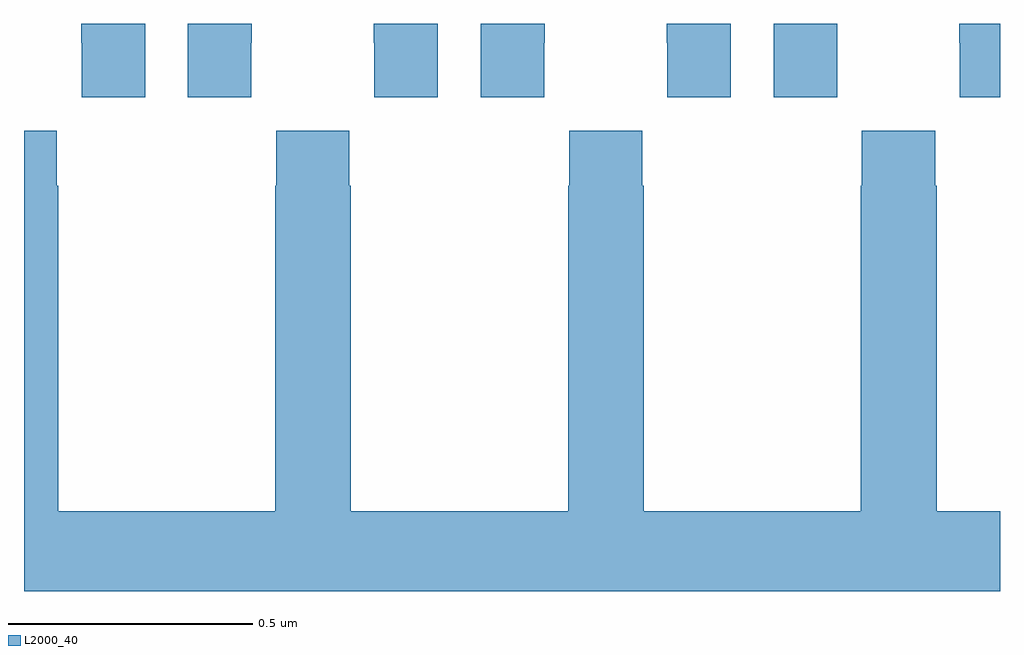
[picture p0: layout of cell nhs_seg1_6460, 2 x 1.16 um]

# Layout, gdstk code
import gdstk
lib = gdstk.Library(unit=1e-6, precision=1e-09)
def P(c, l, *ps):  # polygons
    for p in ps: c.add(gdstk.Polygon(p, *l))
L2000_40 = (2000, 40)

nhs_seg1_6460 = lib.new_cell('nhs_seg1_6460')
P(nhs_seg1_6460, L2000_40, [(191.248,582.199),(191.117,582.199),(191.117,582.16),(191.118,582.16),(191.118,582.048),(191.248,582.048)],
  [(191.466,582.16),(191.467,582.16),(191.467,582.199),(191.336,582.199),(191.336,582.048),(191.466,582.048)],
  [(191.848,582.199),(191.717,582.199),(191.717,582.16),(191.718,582.16),(191.718,582.048),(191.848,582.048)],
  [(192.066,582.16),(192.067,582.16),(192.067,582.199),(191.936,582.199),(191.936,582.048),(192.066,582.048)],
  [(192.448,582.199),(192.317,582.199),(192.317,582.16),(192.318,582.16),(192.318,582.048),(192.448,582.048)],
  [(192.666,582.16),(192.667,582.16),(192.667,582.199),(192.536,582.199),(192.536,582.048),(192.666,582.048)],
  [(193,582.199),(192.917,582.199),(192.917,582.16),(192.918,582.16),(192.918,582.048),(193,582.048)],
  [(193,581.2),(192.87,581.2),(192.87,581.867),(192.867,581.867),(192.867,581.98),(192.717,581.98),(192.717,581.867),(192.715,581.867),(192.715,581.2),(192.27,581.2),(192.27,581.867),(192.267,581.867),(192.267,581.98),(192.117,581.98),(192.117,581.867),(192.115,581.867),(192.115,581.2),(191.67,581.2),(191.67,581.867),(191.667,581.867),(191.667,581.98),(191.517,581.98),(191.517,581.867),(191.515,581.867),(191.515,581.2),(191.07,581.2),(191.07,581.867),(191.067,581.867),(191.067,581.98),(191,581.98),(191,581.036),(193,581.036)])

lib.write_gds('nhs_seg1_6460.gds')
